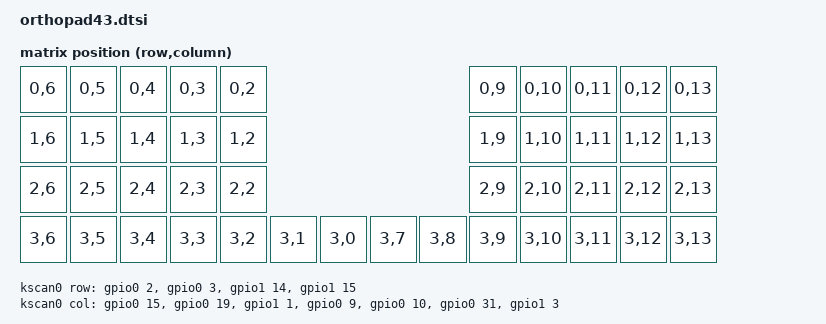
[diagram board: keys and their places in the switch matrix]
#include <dt-bindings/zmk/matrix_transform.h>
#include "orthopad43-layouts.dtsi"

/ {
    chosen {
        zmk,physical-layout = <&physical_layout0>;
        zmk,kscan = <&kscan0>;
    };

    kscan0: kscan {
        compatible = "zmk,kscan-gpio-matrix";
        diode-direction = "col2row";
        wakeup-source;

        row-gpios
           = <&gpio0 2 GPIO_ACTIVE_HIGH>
           , <&gpio0 3 GPIO_ACTIVE_HIGH>
           , <&gpio1 14 GPIO_ACTIVE_HIGH>
           , <&gpio1 15 GPIO_ACTIVE_HIGH>
           ;

        col-gpios
            = <&gpio0 15 GPIO_ACTIVE_HIGH>
            , <&gpio0 19 GPIO_ACTIVE_HIGH>
            , <&gpio1 1 GPIO_ACTIVE_HIGH>
            , <&gpio0 9 GPIO_ACTIVE_HIGH>
            , <&gpio0 10 GPIO_ACTIVE_HIGH>
            , <&gpio0 31 GPIO_ACTIVE_HIGH>
            , <&gpio1 3 GPIO_ACTIVE_HIGH>
            ;
    };

    default_transform: keymap_transform0 {
        compatible = "zmk,matrix-transform";
        columns = <14>;
        rows = <4>;
        map = <
RC(0,6) RC(0,5) RC(0,4) RC(0,3) RC(0,2)                                        RC(0,9) RC(0,10) RC(0,11) RC(0,12) RC(0,13)
RC(1,6) RC(1,5) RC(1,4) RC(1,3) RC(1,2)                                        RC(1,9) RC(1,10) RC(1,11) RC(1,12) RC(1,13)
RC(2,6) RC(2,5) RC(2,4) RC(2,3) RC(2,2)                                        RC(2,9) RC(2,10) RC(2,11) RC(2,12) RC(2,13)
RC(3,6) RC(3,5) RC(3,4) RC(3,3) RC(3,2) RC(3,1) RC(3,0)        RC(3,7) RC(3,8) RC(3,9) RC(3,10) RC(3,11) RC(3,12) RC(3,13)
        >;
    };
};
